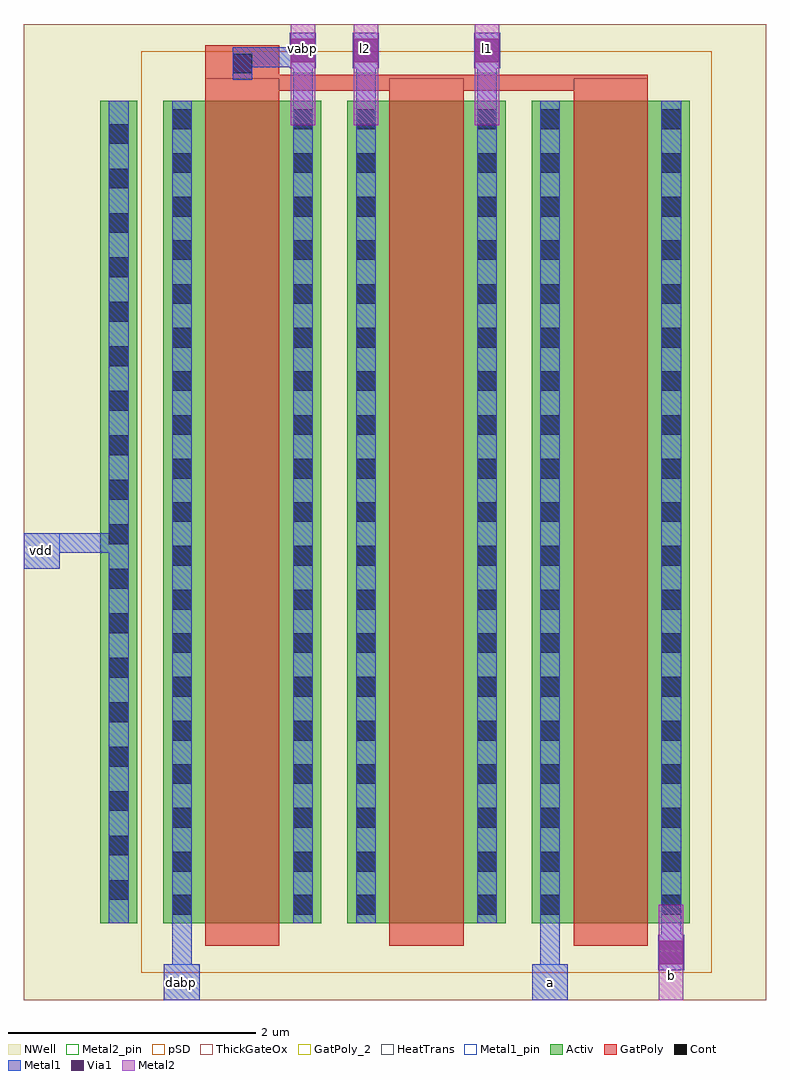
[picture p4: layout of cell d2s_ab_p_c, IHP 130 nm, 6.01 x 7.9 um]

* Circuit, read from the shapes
.subckt d2s_ab_p_c a b dabp l1 l2 vabp vdd
XM1 vabp vabp dabp vdd sg13_hv_pmos w=6.66u l=0.6u
XM2 l1 vabp l2 vdd sg13_hv_pmos w=6.66u l=0.6u
XM3 b vabp a vdd sg13_hv_pmos w=6.66u l=0.6u
.ends

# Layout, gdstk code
import gdstk
lib = gdstk.Library(unit=1e-6, precision=1e-09)
def R(c, l, rs):  # rectangles x0, y0, x1, y1
    for r in rs: c.add(gdstk.rectangle(r[:2], r[2:], *l))
def A(c, l, x, y, w, h, nx, ny, dx, dy):  # array of equal rectangles
    R(c, l, [(x+i*dx, y+j*dy, x+i*dx+w, y+j*dy+h) for i in range(nx) for j in range(ny)])
Activ = (1, 0)
GatPoly = (5, 0)
GatPoly_2 = (5, 2)
Cont = (6, 0)
Metal1 = (8, 0)
Metal1_pin = (8, 2)
Metal2 = (10, 0)
Metal2_pin = (10, 2)
pSD = (14, 0)
Via1 = (19, 0)
NWell = (31, 0)
ThickGateOx = (44, 0)
HeatTrans = (51, 0)

pmoshv_5 = lib.new_cell('pmosHV$5')
R(pmoshv_5, Activ, [(0,0,0.3,0.3), (0,0,1.28,6.66), (0.98,0,1.28,0.3)])
R(pmoshv_5, GatPoly, [(0.34,-0.18,0.94,6.84)])
R(pmoshv_5, GatPoly_2, [(0.34,-0.18,0.94,6.84)])
A(pmoshv_5, Cont, 0.07, 0.42, 0.16, 0.16, 1, 3, 0, 0.355)
A(pmoshv_5, Cont, 1.05, 0.42, 0.16, 0.16, 1, 3, 0, 0.355)
A(pmoshv_5, Cont, 0.07, 1.48, 0.16, 0.16, 1, 3, 0, 0.355)
A(pmoshv_5, Cont, 1.05, 1.48, 0.16, 0.16, 1, 3, 0, 0.355)
A(pmoshv_5, Cont, 0.07, 2.54, 0.16, 0.16, 1, 3, 0, 0.355)
A(pmoshv_5, Cont, 1.05, 2.54, 0.16, 0.16, 1, 3, 0, 0.355)
A(pmoshv_5, Cont, 0.07, 3.6, 0.16, 0.16, 1, 3, 0, 0.355)
A(pmoshv_5, Cont, 1.05, 3.6, 0.16, 0.16, 1, 3, 0, 0.355)
A(pmoshv_5, Cont, 0.07, 4.66, 0.16, 0.16, 1, 3, 0, 0.355)
A(pmoshv_5, Cont, 1.05, 4.66, 0.16, 0.16, 1, 3, 0, 0.355)
A(pmoshv_5, Cont, 0.07, 5.72, 0.16, 0.16, 1, 3, 0, 0.355)
A(pmoshv_5, Cont, 1.05, 5.72, 0.16, 0.16, 1, 3, 0, 0.355)
R(pmoshv_5, Cont, [(0.07,0.07,0.23,0.23), (1.05,0.07,1.21,0.23)])
R(pmoshv_5, Metal1, [(0.07,0,0.23,6.66), (1.05,0,1.21,6.66)])
R(pmoshv_5, Metal1_pin, [(0.07,0,0.23,6.66), (1.05,0,1.21,6.66)])
R(pmoshv_5, pSD, [(-0.18,-0.4,1.46,7.06)])
R(pmoshv_5, NWell, [(-0.62,-0.62,1.9,7.28)])
R(pmoshv_5, ThickGateOx, [(-0.62,-0.62,1.9,7.28)])
R(pmoshv_5, HeatTrans, [(0.34,-0.18,0.94,6.84)])
pmoshv_5.add(gdstk.Label('pmosHV', (0.64,3.33), layer=63, texttype=0))
pmoshv_5.add(gdstk.Label('pmos', (0.64,3.33), layer=51, texttype=0))

d2s_ab_p_c = lib.new_cell('d2s_ab_p_c')
R(d2s_ab_p_c, Activ, [(0.62,0.62,0.92,7.28)])
R(d2s_ab_p_c, GatPoly, [(1.47,7.36,5.05,7.49), (1.47,7.36,2.07,7.73)])
A(d2s_ab_p_c, Cont, 0.69, 0.81, 0.16, 0.16, 1, 18, 0, 0.36)
R(d2s_ab_p_c, Cont, [(1.69,7.5,1.85,7.66)])
R(d2s_ab_p_c, Metal1, [(1.135,0,1.425,0.29), (1.2,0,1.36,0.62), (4.115,0,4.405,0.29), (4.18,0,4.34,0.62), (5.135,0.24,5.345,0.53), (5.16,0.24,5.32,0.62), (0.69,0.62,0.85,7.28), (0,3.49,0.29,3.78), (0,3.62,0.85,3.78), (2.18,7.28,2.34,7.81), (2.69,7.28,2.85,7.81), (3.67,7.28,3.83,7.81), (1.69,7.45,1.85,7.71), (2.155,7.54,2.365,7.83), (2.665,7.54,2.875,7.83), (3.645,7.54,3.855,7.83), (1.69,7.55,2.34,7.71)])
R(d2s_ab_p_c, Metal1_pin, [(1.135,0,1.425,0.29), (4.115,0,4.405,0.29), (0,3.49,0.29,3.78)])
R(d2s_ab_p_c, Metal2, [(5.14,0,5.34,0.77), (5.14,0.24,5.34,0.53), (2.16,7.08,2.36,7.9), (2.67,7.08,2.87,7.9), (3.65,7.08,3.85,7.9), (2.16,7.54,2.36,7.83), (2.67,7.54,2.87,7.83), (3.65,7.54,3.85,7.83)])
R(d2s_ab_p_c, Metal2_pin, [(5.14,0,5.34,0.4), (2.16,7.5,2.36,7.9), (2.67,7.5,2.87,7.9), (3.65,7.5,3.85,7.9)])
R(d2s_ab_p_c, Via1, [(5.145,0.29,5.335,0.48), (2.165,7.59,2.355,7.78), (2.675,7.59,2.865,7.78), (3.655,7.59,3.845,7.78)])
R(d2s_ab_p_c, NWell, [(0,0,6.01,7.9)])
R(d2s_ab_p_c, ThickGateOx, [(0,0,6.01,7.9)])
d2s_ab_p_c.add(gdstk.Reference(pmoshv_5, (1.13,0.62)))
d2s_ab_p_c.add(gdstk.Reference(pmoshv_5, (2.62,0.62)))
d2s_ab_p_c.add(gdstk.Reference(pmoshv_5, (4.11,0.62)))
d2s_ab_p_c.add(gdstk.Label('dabp', (1.28,0.145), layer=8, texttype=25))
d2s_ab_p_c.add(gdstk.Label('a', (4.26,0.145), layer=8, texttype=25))
d2s_ab_p_c.add(gdstk.Label('vdd', (0.145,3.635), layer=8, texttype=25))
d2s_ab_p_c.add(gdstk.Label('b', (5.24,0.2), layer=10, texttype=25))
d2s_ab_p_c.add(gdstk.Label('vabp', (2.26,7.7), layer=10, texttype=25))
d2s_ab_p_c.add(gdstk.Label('l2', (2.77,7.7), layer=10, texttype=25))
d2s_ab_p_c.add(gdstk.Label('l1', (3.75,7.7), layer=10, texttype=25))

lib.write_gds('d2s_ab_p_c.gds')
